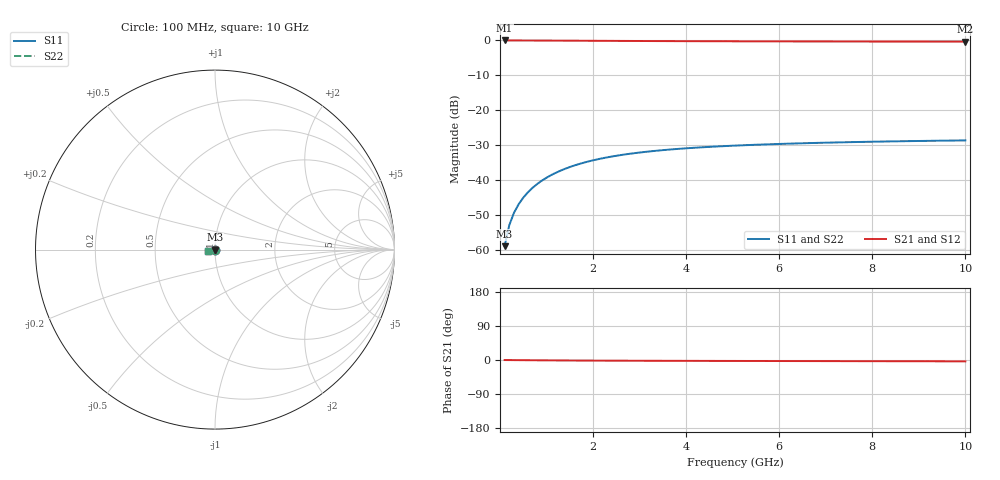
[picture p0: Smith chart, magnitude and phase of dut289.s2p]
! Touchstone file exported from HFSS 2024.1.0
!  File:  C:/UserFiles/LocalFiles/RDL_TSV_Batchsim/temp_TSV1_289_1779394095.aedt
!  Generated:  04:12:31 AM May 22, 2026
!  Design:  TSV1
!  Project:  temp_TSV1_289_1779394095
!  Setup:  Setup1
!  Solution:  Sweep
! Variables:
!  dtsv = 14.7um
!  hbump = 3um
!  htsv = 50.52um
!  lrdl = 252.1521522um
!  p = 40
!  p1 = 54.64um
!  t = 500um
!  trdl = 3um
!  wrdl = 24.89489489um
# GHz S MA R 50.000000
! Terminal data exported
! Port[1] = TSV22_T1
! Port[2] = TSV22_T2
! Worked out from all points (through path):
!   100 points, 100 MHz to 10 GHz, reference 50 ohm
!   highest |S21| = 0.00 dB at 100 MHz (marker M1); lowest = -0.3 dB at 10 GHz (marker M2)
!   lowest |S11| = -58.8 dB at 100 MHz (marker M3), VSWR 1.00, Z = 50 - j0.115 ohm
!   |S11| at or under -10 dB: start of sweep to end of sweep
!   |S22| runs from -58.8 to -28.6 dB; largest |S21 - S12| = 3.2e-15
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0.1  0.001147 -88.7  0.9999 -0.1  0.9999 -0.1  0.001147 -88.7
! Gamma 0 0 0 0
! Port Impedance 50 0 50 0
0.2  0.002288 -92.2  0.9998 -0.2  0.9998 -0.2  0.002288 -92.2
0.3  0.003422 -94.6  0.9996 -0.3  0.9996 -0.3  0.003422 -94.6
0.4  0.004546 -96.8  0.9993 -0.4  0.9993 -0.4  0.004546 -96.8
0.5  0.005657 -98.8  0.9989 -0.5  0.9989 -0.5  0.005657 -98.8
0.6  0.006751 -100.7  0.9985 -0.6  0.9985 -0.6  0.006751 -100.7
0.7  0.007827 -102.6  0.998 -0.7  0.998 -0.7  0.007827 -102.6
0.8  0.00888 -104.5  0.9975 -0.8  0.9975 -0.8  0.00888 -104.5
0.9  0.00991 -106.3  0.9969 -0.8  0.9969 -0.8  0.00991 -106.3
1.1  0.01189 -109.8  0.9957 -1.0  0.9957 -1.0  0.01189 -109.8
1.4  0.01465 -114.7  0.9935 -1.2  0.9935 -1.2  0.01465 -114.7
1.6  0.01633 -117.8  0.992 -1.4  0.992 -1.4  0.01633 -117.8
1.8  0.0179 -120.7  0.9905 -1.5  0.9905 -1.5  0.0179 -120.7
2.1  0.02002 -124.8  0.9883 -1.6  0.9883 -1.6  0.02002 -124.8
2.5  0.02247 -129.7  0.9854 -1.8  0.9854 -1.8  0.02247 -129.7
2.9  0.02454 -134.1  0.9828 -1.9  0.9828 -1.9  0.02454 -134.1
3.4  0.02668 -138.8  0.9798 -2.1  0.9798 -2.1  0.02668 -138.8
4.2  0.02932 -145.1  0.9758 -2.3  0.9758 -2.3  0.02932 -145.1
5.1  0.0315 -150.7  0.9722 -2.5  0.9722 -2.5  0.0315 -150.7
6.7  0.03418 -158.5  0.9677 -2.9  0.9677 -2.9  0.03418 -158.5
8.4  0.03606 -165.0  0.9646 -3.2  0.9646 -3.2  0.03606 -165.0
10  0.03727 -170.1  0.9625 -3.6  0.9625 -3.6  0.03727 -170.1
